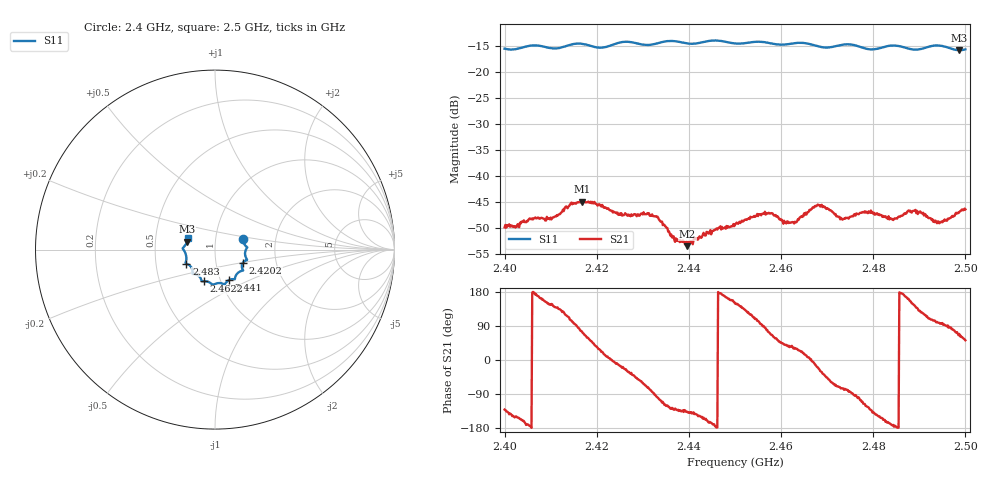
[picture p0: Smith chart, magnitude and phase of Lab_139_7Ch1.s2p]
# Hz S RI R 50
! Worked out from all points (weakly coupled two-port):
!   601 points, 2.4 GHz to 2.5 GHz, reference 50 ohm
!   highest |S21| = -44.85 dB at 2.4168 GHz (marker M1); lowest = -53.4 dB at 2.4397 GHz (marker M2)
!   lowest |S11| = -15.8 dB at 2.4987 GHz (marker M3), VSWR 1.39, Z = 36.4 + j3.3 ohm
!   |S11| at or under -10 dB: start of sweep to end of sweep
!   S12 and S22 are empty: the file has one direction only
!   S11 on the Smith chart (normalised r, x): 2.4 GHz: 1.36, +0.17; 2.4202 GHz: 1.35, -0.20; 2.441 GHz: 1.10, -0.39; 2.4622 GHz: 0.83, -0.30; 2.483 GHz: 0.72, -0.12; 2.5 GHz: 0.73, +0.09
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2.4e9  0.1564 0.0604  -0.00211 -0.00245  0 0  0 0
2.410167e9  0.1688 -0.00916  -0.00327 0.00205  0 0  0 0
2.416667e9  0.1777 -0.0583  0.00129 0.00541  0 0  0 0
2.416833e9  0.1774 -0.0586  0.00161 0.00549  0 0  0 0
2.420167e9  0.1561 -0.0719  0.00443 0.00278  0 0  0 0
2.433333e9  0.1129 -0.1523  -0.000712 -0.00393  0 0  0 0
2.436833e9  0.1089 -0.1655  -0.00162 -0.00184  0 0  0 0
2.439667e9  0.0897 -0.1654  -0.00155 -0.00147  0 0  0 0
2.441e9  0.0771 -0.1704  -0.00183 -0.00164  0 0  0 0
2.45e9  0.0266 -0.1863  -0.00293 0.00177  0 0  0 0
2.457e9  -0.0185 -0.1908  0.00083 0.00431  0 0  0 0
2.462167e9  -0.0629 -0.1765  0.00294 0.00207  0 0  0 0
2.466667e9  -0.0766 -0.167  0.00486 -0.000291  0 0  0 0
2.469167e9  -0.0891 -0.1478  0.00412 -0.00311  0 0  0 0
2.473333e9  -0.1223 -0.1362  0.00101 -0.00369  0 0  0 0
2.478167e9  -0.1265 -0.112  -0.00203 -0.00414  0 0  0 0
2.483e9  -0.1591 -0.078  -0.00383 -0.00103  0 0  0 0
2.483333e9  -0.1607 -0.0773  -0.004 -0.00103  0 0  0 0
2.489e9  -0.1605 -0.0351  -0.00378 0.00279  0 0  0 0
2.494333e9  -0.1795 0.00806  -0.000494 0.0035  0 0  0 0
2.498667e9  -0.1559 0.0441  0.00163 0.00421  0 0  0 0
2.5e9  -0.1528 0.0628  0.00296 0.00379  0 0  0 0
